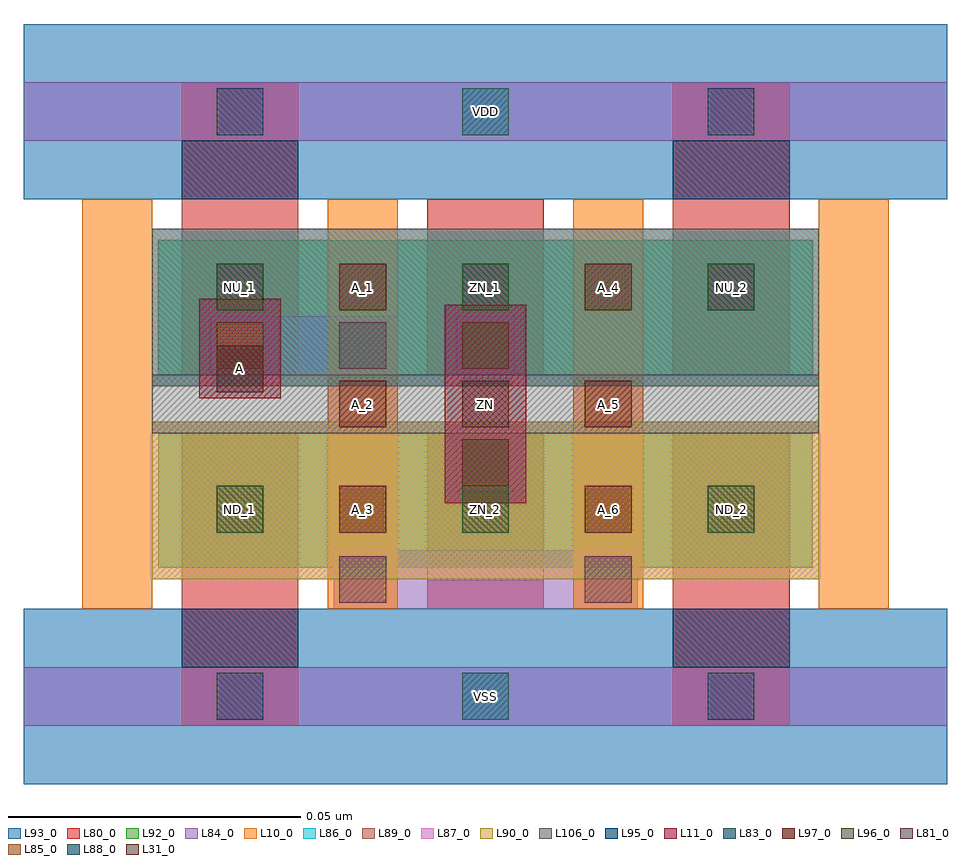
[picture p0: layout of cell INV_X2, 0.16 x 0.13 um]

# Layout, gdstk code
import gdstk
lib = gdstk.Library(unit=1e-6, precision=1e-09)
def R(c, l, rs):  # rectangles x0, y0, x1, y1
    for r in rs: c.add(gdstk.rectangle(r[:2], r[2:], *l))
def A(c, l, x, y, w, h, nx, ny, dx, dy):  # array of equal rectangles
    R(c, l, [(x+i*dx, y+j*dy, x+i*dx+w, y+j*dy+h) for i in range(nx) for j in range(ny)])
L10_0 = (10, 0)
L11_0 = (11, 0)
L31_0 = (31, 0)
L80_0 = (80, 0)
L81_0 = (81, 0)
L83_0 = (83, 0)
L84_0 = (84, 0)
L85_0 = (85, 0)
L86_0 = (86, 0)
L87_0 = (87, 0)
L88_0 = (88, 0)
L89_0 = (89, 0)
L90_0 = (90, 0)
L92_0 = (92, 0)
L93_0 = (93, 0)
L95_0 = (95, 0)
L96_0 = (96, 0)
L97_0 = (97, 0)
L106_0 = (106, 0)

inv_x2 = lib.new_cell('INV_X2')
A(inv_x2, L10_0, -0.027, 0.015, 0.012, 0.07, 4, 1, 0.042, 0)
R(inv_x2, L11_0, [(0.035,0.033,0.049,0.067), (-0.007,0.051,0.007,0.068)])
R(inv_x2, L31_0, [(0.038,0.046,0.046,0.054), (-0.004,0.052,0.004,0.06)])
A(inv_x2, L80_0, -0.01, 0.015, 0.02, 0.03, 3, 2, 0.042, 0.04)
R(inv_x2, L80_0, [(-0.01,-0.005,0.01,0.025), (0.074,-0.005,0.094,0.025), (-0.01,0.075,0.01,0.105), (0.074,0.075,0.094,0.105)])
R(inv_x2, L81_0, [(0.017,0.016,0.025,0.024), (0.059,0.016,0.067,0.024), (0.017,0.056,0.025,0.064)])
R(inv_x2, L83_0, [(-0.004,-0.004,0.004,0.004), (0.08,-0.004,0.088,0.004), (0.038,0.036,0.046,0.044), (0.038,0.056,0.046,0.064), (-0.004,0.096,0.004,0.104), (0.08,0.096,0.088,0.104)])
R(inv_x2, L84_0, [(-0.037,-0.005,0.121,0.005), (0.016,0.015,0.047,0.025), (0.037,0.015,0.068,0.025), (0.037,0.035,0.047,0.045), (-0.005,0.055,0.027,0.065), (0.037,0.055,0.047,0.065), (-0.037,0.095,0.121,0.105)])
R(inv_x2, L85_0, [(0.038,0.036,0.046,0.044), (-0.004,0.056,0.004,0.064), (0.038,0.056,0.046,0.064)])
R(inv_x2, L86_0, [(-0.015,0.053,0.099,0.08)])
R(inv_x2, L87_0, [(-0.015,0.02,0.099,0.047)])
R(inv_x2, L88_0, [(0.038,-0.004,0.046,0.004), (0.038,0.096,0.046,0.104)])
R(inv_x2, L89_0, [(-0.015,0.053,0.099,0.08)])
R(inv_x2, L90_0, [(-0.015,0.02,0.099,0.047)])
R(inv_x2, L92_0, [(-0.014,0.022,0.098,0.045), (-0.014,0.055,0.098,0.078)])
R(inv_x2, L93_0, [(-0.037,-0.015,0.121,0.015), (-0.037,0.085,0.121,0.115)])
R(inv_x2, L95_0, [(-0.01,0.005,0.01,0.015), (0.074,0.005,0.094,0.015), (-0.01,0.085,0.01,0.095), (0.074,0.085,0.094,0.095)])
A(inv_x2, L96_0, -0.004, 0.028, 0.008, 0.008, 3, 2, 0.042, 0.038)
R(inv_x2, L97_0, [(0.017,0.028,0.025,0.036), (0.059,0.028,0.067,0.036), (0.017,0.046,0.025,0.054), (0.059,0.046,0.067,0.054), (0.017,0.066,0.025,0.074), (0.059,0.066,0.067,0.074)])
R(inv_x2, L106_0, [(-0.015,0.045,0.099,0.055)])
inv_x2.add(gdstk.Label('A_4', (0.063,0.07), layer=97, texttype=0))
inv_x2.add(gdstk.Label('A_5', (0.063,0.05), layer=97, texttype=0))
inv_x2.add(gdstk.Label('A_6', (0.063,0.032), layer=97, texttype=0))
inv_x2.add(gdstk.Label('A_1', (0.021,0.07), layer=97, texttype=0))
inv_x2.add(gdstk.Label('A_2', (0.021,0.05), layer=97, texttype=0))
inv_x2.add(gdstk.Label('A_3', (0.021,0.032), layer=97, texttype=0))
inv_x2.add(gdstk.Label('ND_2', (0.084,0.032), layer=96, texttype=0))
inv_x2.add(gdstk.Label('NU_2', (0.084,0.07), layer=96, texttype=0))
inv_x2.add(gdstk.Label('ZN_2', (0.042,0.032), layer=96, texttype=0))
inv_x2.add(gdstk.Label('ZN_1', (0.042,0.07), layer=96, texttype=0))
inv_x2.add(gdstk.Label('NU_1', (0,0.07), layer=96, texttype=0))
inv_x2.add(gdstk.Label('ND_1', (0,0.032), layer=96, texttype=0))
inv_x2.add(gdstk.Label('VDD', (0.042,0.1), layer=88, texttype=0))
inv_x2.add(gdstk.Label('VSS', (0.042,0), layer=88, texttype=0))
inv_x2.add(gdstk.Label('ZN', (0.042,0.05), layer=31, texttype=0))
inv_x2.add(gdstk.Label('A', (0,0.056), layer=31, texttype=0))

lib.write_gds('INV_X2.gds')
